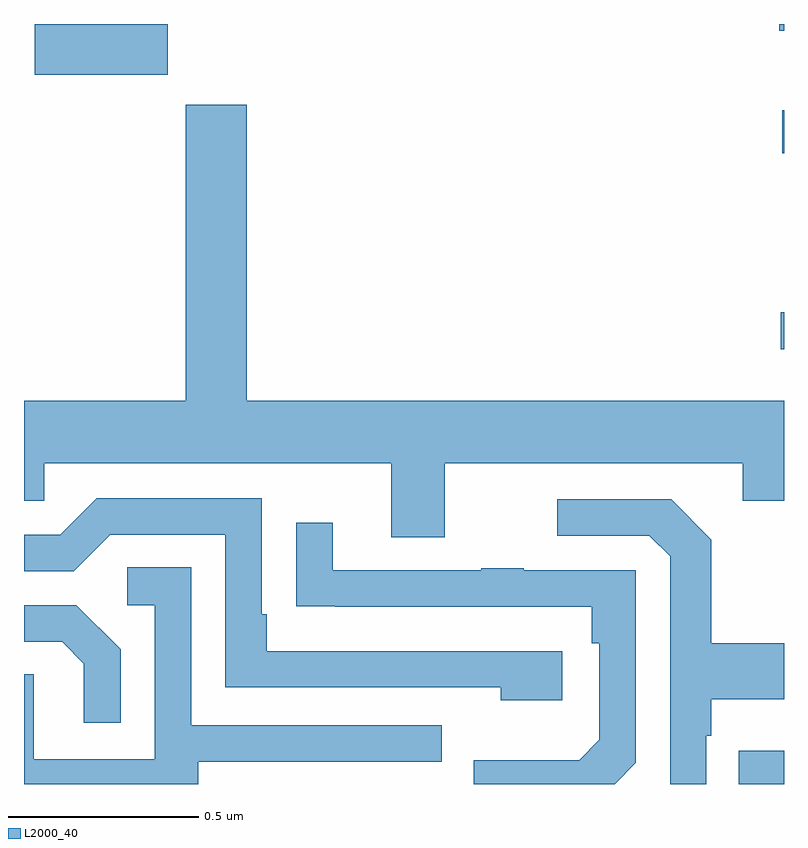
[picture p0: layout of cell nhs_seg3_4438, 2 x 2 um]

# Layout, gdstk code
import gdstk
lib = gdstk.Library(unit=1e-6, precision=1e-09)
def R(c, l, rs):  # rectangles x0, y0, x1, y1
    for r in rs: c.add(gdstk.rectangle(r[:2], r[2:], *l))
def P(c, l, *ps):  # polygons
    for p in ps: c.add(gdstk.Polygon(p, *l))
L2000_40 = (2000, 40)

nhs_seg3_4438 = lib.new_cell('nhs_seg3_4438')
R(nhs_seg3_4438, L2000_40, [(167.881,705.4,168,705.487), (167.991,706.544,168,706.641), (167.996,707.06,168,707.173), (166.028,707.267,166.378,707.4), (167.987,707.382,168,707.4)])
P(nhs_seg3_4438, L2000_40, [(167.107,706.244),(167.891,706.244),(167.891,706.145),(168,706.145),(168,706.408),(166.586,706.408),(166.586,707.188),(166.426,707.188),(166.426,706.408),(166,706.408),(166,706.146),(166.053,706.146),(166.053,706.244),(166.967,706.244),(166.967,706.05),(167.107,706.05)],
  [(167.416,705.75),(166.639,705.75),(166.639,705.847),(166.626,705.847),(166.626,706.152),(166.191,706.152),(166.095,706.056),(166,706.056),(166,705.96),(166.131,705.96),(166.227,706.056),(166.53,706.056),(166.53,705.654),(167.255,705.654),(167.255,705.62),(167.416,705.62)],
  [(167.796,705.527),(167.809,705.527),(167.809,705.623),(168,705.623),(168,705.771),(167.809,705.771),(167.809,706.043),(167.703,706.149),(167.403,706.149),(167.403,706.053),(167.646,706.053),(167.7,705.999),(167.7,705.4),(167.796,705.4)],
  [(167.61,705.456),(167.61,705.963),(167.315,705.963),(167.315,705.968),(167.203,705.968),(167.203,705.963),(166.813,705.963),(166.813,706.087),(166.717,706.087),(166.717,705.868),(166.819,705.868),(166.819,705.867),(167.494,705.867),(167.494,705.77),(167.514,705.77),(167.514,705.516),(167.461,705.463),(167.184,705.463),(167.184,705.4),(167.554,705.4)],
  [(166.459,705.459),(167.099,705.459),(167.099,705.555),(166.44,705.555),(166.44,705.971),(166.272,705.971),(166.272,705.87),(166.344,705.87),(166.344,705.465),(166.026,705.465),(166.026,705.689),(166,705.689),(166,705.4),(166.459,705.4)],
  [(166.254,705.754),(166.138,705.87),(166,705.87),(166,705.774),(166.1,705.774),(166.157,705.717),(166.157,705.561),(166.254,705.561)])

lib.write_gds('nhs_seg3_4438.gds')
